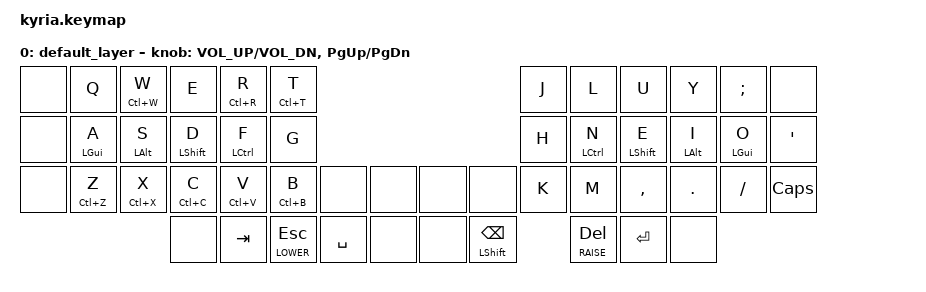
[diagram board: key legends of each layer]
/*
 * Copyright (c) 2020 The ZMK Contributors
 *
 * SPDX-License-Identifier: MIT
 */

#include <behaviors.dtsi>
#include <dt-bindings/zmk/keys.h>

/ {
    behaviors {
        mt_s: ctrl_shift {
            compatible = "zmk,behavior-hold-tap";
            label = "HOMEROW_MODS_CTRL_SHIFT";
            #binding-cells = <2>;
            tapping-term-ms = <180>;
            quick_tap_ms = <0>;
            flavor = "balanced";
            bindings = <&kp>, <&kp>;
        };
        mt_l: alt_gui {
            compatible = "zmk,behavior-hold-tap";
            label = "HOMEROW_MODS_ALT_GUI";
            #binding-cells = <2>;
            tapping-term-ms = <300>;
            quick_tap_ms = <0>;
            flavor = "tap-preferred";
            bindings = <&kp>, <&kp>;
        };
    };

	keymap {
		compatible = "zmk,keymap";


//	default_layer {
// ---------------------------------------------------------------------------------------------------------------------------------
// |  ESC  |  Q  |  W  |  E   |  R   |  T   |                                          |  Y   |  U    |  I    |  O   |   P   |   \  |
// |  TAB  |  A  |  S  |  D   |  F   |  G   |                                          |  H   |  J    |  K    |  L   |   ;   |   '  |
// | SHIFT |  Z  |  X  |  C   |  V   |  B   | L SHIFT | L SHIFT |  | L SHIFT | L SHIFT |  N   |  M    |  ,    |  .   |   /   | CTRL |
//                     | GUI  | DEL  | RET  |  SPACE  |   ESC   |  |   RET   |  SPACE  | TAB  | BSPC  | R-ALT |
//			bindings = <
//	&kp ESC   &kp Q &kp W &kp E &kp R &kp T                                                &kp Y &kp U  &kp I     &kp O   &kp P    &kp BSLH
//	&kp TAB   &kp A &kp S &kp D &kp F &kp G                                                &kp H &kp J  &kp K     &kp L   &kp SEMI &kp SQT
//	&kp LSHFT &kp Z &kp X &kp C &kp V &kp B &kp LSHFT &kp LSHFT        &kp LSHFT &kp LSHFT &kp N &kp M  &kp COMMA &kp DOT &kp FSLH &kp RCTRL
//	                 &kp LGUI &kp DEL &kp RET &kp SPACE &kp ESC        &kp RET  &kp SPACE  &kp TAB &kp BSPC &kp RALT
//			>;
//
//			sensor-bindings = <&inc_dec_kp C_VOL_UP C_VOL_DN &inc_dec_kp PG_UP PG_DN>;


		default_layer {
// ---------------------------------------------------------------------------------------------------------------------------------
// |       |  Q  |  W  |  E   |  R   |  T   |                                          |  Y   |  U    |  I    |  O   |   P   |      |
// |       |  A  |  S  |  D   |  F   |  G   |                                          |  H   |  J    |  K    |  L   |   ;   |   '  |
// |       |  Z  |  X  |  C   |  V   |  B   |         |         |  |         |         |  N   |  M    |  ,    |  .   |   /   | CAPS |
//                     |      | TAB  |LWRESC|  SPACE  |         |  |         |SHFT/BKSP|RSEDEL| ENTER |       |
			bindings = <
	&none   &kp Q           &mt_l LC(W) W   &kp E           &mt_l LC(R) R   &mt_l LC(T) T                   /**/                    &kp J   &kp L           &kp U           &kp Y        &kp SEMI       &none
	&none   &mt_l LGUI A    &mt_l LALT S    &mt_s LSHFT D   &mt_s LCTRL F   &kp G                           /**/                    &kp H   &mt_s LCTRL N   &mt_s LSHFT E   &mt_l LALT I &mt_l LGUI O   &kp SQT
	&none   &mt_l LC(Z) Z   &mt_l LC(X) X   &mt_l LC(C) C   &mt_l LC(V) V   &mt_l LC(B) B &none     &none   /**/    &none   &none   &kp K   &kp M           &kp COMMA       &kp DOT      &kp FSLH       &kp CAPS
	                                        &none           &kp TAB         &lt LOWER ESC &kp SPACE &none   /**/    &none   &mt LSHFT BSPC  &lt RAISE DEL   &kp ENTER       &none
			>;

			sensor-bindings = <&inc_dec_kp C_VOL_UP C_VOL_DN &inc_dec_kp PG_UP PG_DN>;
		};
	};
};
